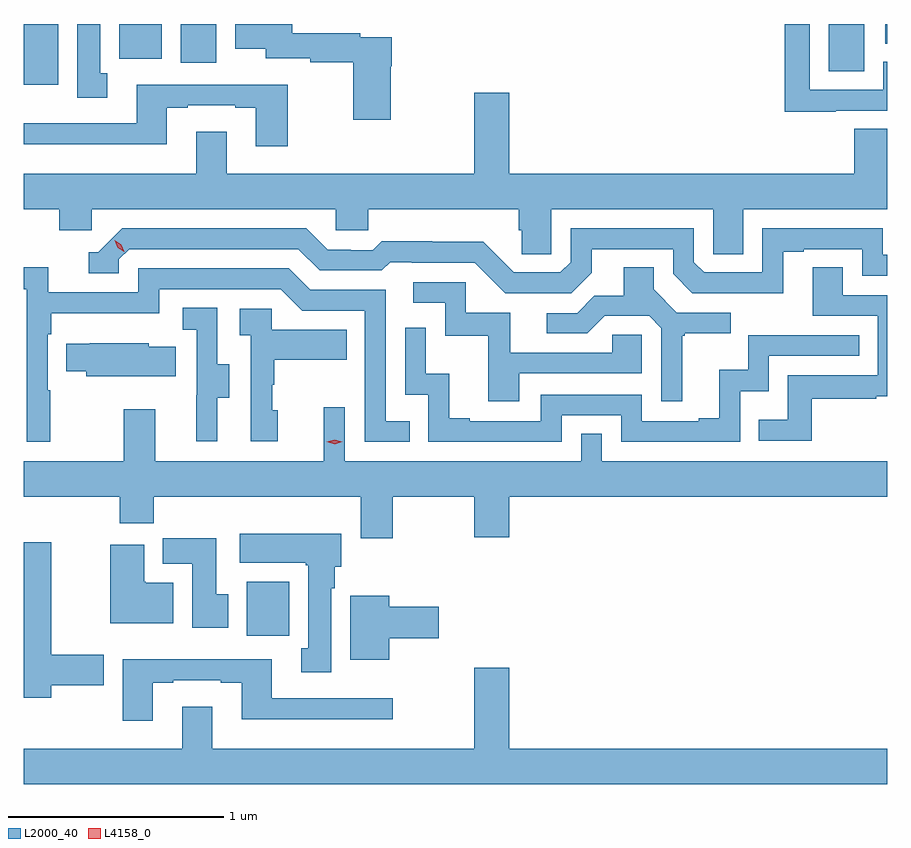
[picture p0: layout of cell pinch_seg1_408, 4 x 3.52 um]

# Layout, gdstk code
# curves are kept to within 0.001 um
import gdstk
lib = gdstk.Library(unit=1e-6, precision=1e-09)
def R(c, l, rs):  # rectangles x0, y0, x1, y1
    for r in rs: c.add(gdstk.rectangle(r[:2], r[2:], *l))
def P(c, l, *ps):  # polygons
    for p in ps: c.add(gdstk.Polygon(p, *l))
L2000_40 = (2000, 40)
L4158_0 = (4158, 0)

pinch_seg1_408 = lib.new_cell('pinch_seg1_408')
R(pinch_seg1_408, L2000_40, [(931.187,528.444,931.383,528.694), (930.154,530.996,930.313,531.278), (933.884,531.06,934.048,531.278), (930.881,531.099,931.045,531.278), (930.596,531.116,930.793,531.278), (934.146,531.187,934.154,531.278)])
P(pinch_seg1_408, L2000_40, [(931.854,531.083),(931.859,531.083),(931.859,531.216),(931.712,531.216),(931.712,531.236),(931.397,531.236),(931.397,531.278),(931.133,531.278),(931.133,531.164),(931.274,531.164),(931.274,531.12),(931.48,531.12),(931.48,531.1),(931.681,531.1),(931.681,530.835),(931.854,530.835)],
  [(933.917,530.877),(934.154,530.877),(934.154,531.102),(934.137,531.102),(934.137,530.973),(933.795,530.973),(933.795,531.278),(933.679,531.278),(933.679,530.872),(933.917,530.872)],
  [(930.541,531.05),(930.508,531.05),(930.508,531.278),(930.401,531.278),(930.401,530.937),(930.541,530.937)],
  [(931.377,530.997),(930.677,530.997),(930.677,530.817),(930.154,530.817),(930.154,530.72),(930.817,530.72),(930.817,530.889),(930.913,530.889),(930.913,530.901),(931.133,530.901),(931.133,530.889),(931.229,530.889),(931.229,530.712),(931.377,530.712)],
  [(932.598,530.42),(933.348,530.42),(933.348,530.212),(933.487,530.212),(933.487,530.42),(934.154,530.42),(934.154,530.792),(934.001,530.792),(934.001,530.584),(932.404,530.584),(932.404,530.959),(932.24,530.959),(932.24,530.584),(931.093,530.584),(931.093,530.779),(930.953,530.779),(930.953,530.584),(930.154,530.584),(930.154,530.42),(930.317,530.42),(930.317,530.322),(930.468,530.322),(930.468,530.42),(931.599,530.42),(931.599,530.322),(931.749,530.322),(931.749,530.42),(932.447,530.42),(932.447,530.322),(932.461,530.322),(932.461,530.212),(932.598,530.212)],
  [(933.673,530.223),(933.769,530.223),(933.769,530.235),(934.038,530.235),(934.038,530.112),(934.154,530.112),(934.154,530.208),(934.134,530.208),(934.134,530.331),(933.576,530.331),(933.576,530.127),(933.306,530.127),(933.258,530.175),(933.258,530.331),(932.688,530.331),(932.688,530.175),(932.64,530.127),(932.424,530.127),(932.282,530.269),(932.046,530.269),(932.046,530.272),(931.813,530.272),(931.771,530.229),(931.668,530.229),(931.668,530.232),(931.561,530.232),(931.462,530.331),(930.609,530.331),(930.498,530.22),(930.455,530.22),(930.455,530.124),(930.594,530.124),(930.594,530.187),(930.642,530.235),(931.425,530.235),(931.524,530.136),(931.813,530.136),(931.852,530.175),(931.951,530.175),(931.951,530.172),(932.244,530.172),(932.385,530.031),(932.691,530.031),(932.785,530.125),(932.785,530.235),(933.162,530.235),(933.162,530.121),(933.252,530.031),(933.673,530.03)],
  [(930.277,529.58),(930.264,529.58),(930.264,529.841),(930.281,529.841),(930.281,529.937),(930.78,529.937),(930.78,530.049),(931.344,530.049),(931.443,529.95),(931.734,529.95),(931.734,529.341),(931.943,529.341),(931.943,529.437),(931.83,529.437),(931.83,530.046),(931.48,530.046),(931.381,530.145),(930.684,530.145),(930.684,530.034),(930.266,530.034),(930.266,530.15),(930.154,530.15),(930.154,530.048),(930.168,530.048),(930.168,529.341),(930.277,529.341)],
  [(933.805,529.542),(934.103,529.542),(934.103,529.553),(934.154,529.553),(934.154,530.022),(933.949,530.022),(933.949,530.15),(933.809,530.15),(933.809,529.926),(934.11,529.926),(934.11,529.65),(933.694,529.65),(933.694,529.444),(933.559,529.444),(933.559,529.347),(933.805,529.347)],
  [(933.205,529.833),(933.217,529.833),(933.217,529.844),(933.43,529.844),(933.43,529.941),(933.18,529.941),(933.073,530.048),(933.073,530.15),(932.933,530.15),(932.933,530.018),(932.798,530.018),(932.718,529.938),(932.577,529.938),(932.577,529.845),(932.764,529.845),(932.845,529.926),(933.051,529.926),(933.108,529.869),(933.108,529.53),(933.205,529.53)],
  [(932.449,529.659),(933.018,529.659),(933.018,529.839),(932.881,529.839),(932.881,529.755),(932.407,529.755),(932.407,529.941),(932.202,529.941),(932.202,530.082),(931.959,530.082),(931.959,529.986),(932.106,529.986),(932.106,529.833),(932.305,529.833),(932.305,529.53),(932.449,529.53)],
  [(931.051,529.546),(931.105,529.546),(931.105,529.701),(931.05,529.701),(931.05,529.964),(930.891,529.964),(930.891,529.861),(930.954,529.861),(930.954,529.557),(930.953,529.557),(930.953,529.344),(931.051,529.344)],
  [(931.33,529.488),(931.305,529.488),(931.305,529.607),(931.315,529.607),(931.315,529.721),(931.649,529.721),(931.649,529.861),(931.302,529.861),(931.302,529.959),(931.155,529.959),(931.155,529.835),(931.206,529.835),(931.206,529.344),(931.33,529.344)],
  [(932.646,529.464),(932.922,529.464),(932.922,529.341),(933.474,529.341),(933.474,529.577),(933.606,529.577),(933.606,529.74),(934.025,529.74),(934.025,529.836),(933.51,529.836),(933.51,529.675),(933.377,529.675),(933.377,529.45),(933.281,529.45),(933.281,529.437),(933.018,529.437),(933.018,529.56),(932.55,529.56),(932.55,529.437),(932.221,529.437),(932.221,529.45),(932.126,529.45),(932.126,529.658),(932.016,529.658),(932.016,529.87),(931.92,529.87),(931.92,529.56),(932.028,529.56),(932.028,529.341),(932.646,529.341)],
  [(930.857,529.783),(930.732,529.783),(930.732,529.798),(930.46,529.798),(930.46,529.797),(930.349,529.797),(930.349,529.669),(930.443,529.669),(930.443,529.646),(930.857,529.646)],
  [(931.863,529.088),(932.24,529.088),(932.24,528.9),(932.404,528.9),(932.404,529.088),(934.154,529.088),(934.154,529.252),(932.832,529.252),(932.832,529.379),(932.736,529.379),(932.736,529.252),(931.641,529.252),(931.641,529.501),(931.544,529.501),(931.544,529.252),(930.763,529.252),(930.763,529.492),(930.616,529.492),(930.616,529.252),(930.154,529.252),(930.154,529.088),(930.599,529.088),(930.599,528.964),(930.755,528.964),(930.755,529.088),(931.715,529.088),(931.715,528.894),(931.863,528.894)],
  [(931.579,528.662),(931.594,528.662),(931.594,528.762),(931.624,528.762),(931.624,528.916),(931.155,528.916),(931.155,528.782),(931.459,528.782),(931.459,528.769),(931.472,528.769),(931.472,528.385),(931.439,528.385),(931.439,528.273),(931.579,528.273)],
  [(931.102,528.636),(931.045,528.636),(931.045,528.894),(930.797,528.894),(930.797,528.776),(930.935,528.776),(930.935,528.48),(931.102,528.48)],
  [(930.28,528.214),(930.523,528.214),(930.523,528.356),(930.28,528.356),(930.28,528.877),(930.154,528.877),(930.154,528.156),(930.28,528.156)],
  [(930.847,528.688),(930.718,528.688),(930.718,528.694),(930.712,528.694),(930.712,528.865),(930.554,528.865),(930.554,528.5),(930.847,528.5)],
  [(931.846,528.431),(932.077,528.431),(932.077,528.578),(931.846,528.578),(931.846,528.628),(931.667,528.628),(931.667,528.332),(931.846,528.332)],
  [(930.751,528.225),(930.847,528.225),(930.847,528.237),(931.067,528.237),(931.067,528.225),(931.163,528.225),(931.163,528.056),(931.864,528.056),(931.864,528.153),(931.303,528.153),(931.303,528.334),(930.611,528.334),(930.611,528.048),(930.751,528.048)],
  [(930.887,528.115),(930.887,527.92),(930.154,527.92),(930.154,527.756),(934.154,527.756),(934.154,527.92),(932.404,527.92),(932.404,528.295),(932.24,528.295),(932.24,527.92),(931.027,527.92),(931.027,528.115)])
P(pinch_seg1_408, L4158_0, [(931.594,529.331),(931.558,529.341),(931.558,529.341),(931.558,529.341),(931.594,529.351),(931.63,529.341),(931.63,529.341),(931.63,529.341)],
  [(930.62,530.223),(930.589,530.242),(930.574,530.275),(930.574,530.276),(930.574,530.276),(930.604,530.256),(930.62,530.223),(930.62,530.223)])

lib.write_gds('pinch_seg1_408.gds')
